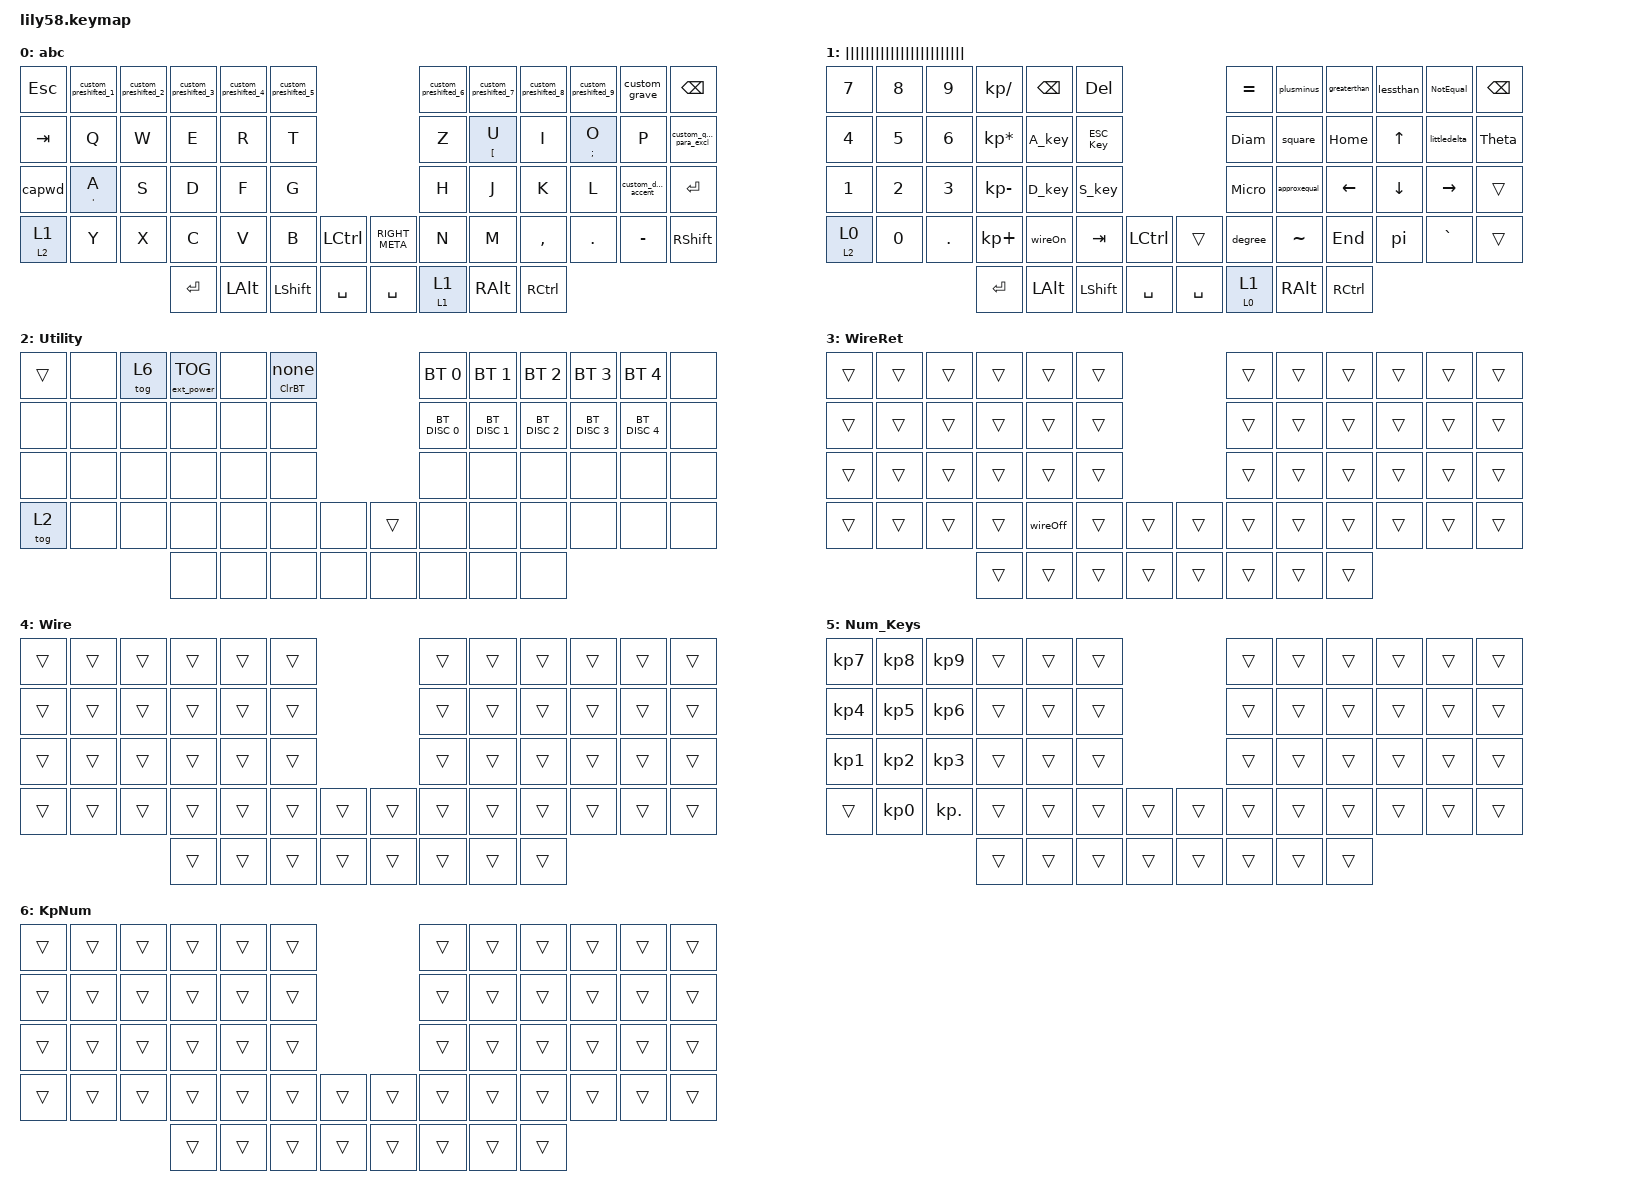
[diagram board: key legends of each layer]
/*
 * Copyright (c) 2020 The ZMK Contributors
 * Das ist ein Kommentar hihi
 * SPDX-License-Identifier: MIT
 */

#include <behaviors.dtsi>
#include <dt-bindings/zmk/bt.h>
#include <dt-bindings/zmk/ext_power.h>
#include <dt-bindings/zmk/keys.h>
#include "keymap_swiss_de.h"

/ {
    macros {
        NotEqual: NotEqual {
            compatible = "zmk,behavior-macro";
            #binding-cells = <0>;
            bindings =
                <&macro_press>,
                <&kp RALT>,
                <&macro_tap>,
                <&kp KP_NUMBER_8 &kp KP_N8 &kp KP_N0 &kp KP_N0>,
                <&macro_release>,
                <&kp RALT>;

            label = "NOTEQUAL";
            wait-ms = <30>;
            tap-ms = <30>;
        };

        pi: pi {
            compatible = "zmk,behavior-macro";
            #binding-cells = <0>;
            bindings =
                <&macro_press>,
                <&kp RALT>,
                <&macro_tap>,
                <&kp KP_NUMBER_2 &kp KP_NUMBER_2 &kp KP_NUMBER_7>,
                <&macro_release>,
                <&kp RALT>;

            label = "PI";
            wait-ms = <30>;
            tap-ms = <30>;
        };

        plusminus: plusminus {
            compatible = "zmk,behavior-macro";
            #binding-cells = <0>;
            bindings =
                <&macro_press>,
                <&kp RALT>,
                <&macro_tap>,
                <&kp KP_NUMBER_0 &kp KP_NUMBER_1 &kp KP_NUMBER_7 &kp KP_NUMBER_7>,
                <&macro_release>,
                <&kp RALT>;

            label = "PLUSMINUS";
            wait-ms = <30>;
            tap-ms = <30>;
        };

        greaterthan: greaterthan {
            compatible = "zmk,behavior-macro";
            #binding-cells = <0>;
            bindings =
                <&macro_press>,
                <&kp RALT>,
                <&macro_tap>,
                <&kp KP_NUMBER_2 &kp KP_NUMBER_4 &kp KP_NUMBER_2>,
                <&macro_release>,
                <&kp RALT>;

            label = "GREATERTHAN";
            wait-ms = <30>;
            tap-ms = <30>;
        };

        lessthan: lessthan {
            compatible = "zmk,behavior-macro";
            #binding-cells = <0>;
            bindings =
                <&macro_press>,
                <&kp RALT>,
                <&macro_tap>,
                <&kp KP_NUMBER_2 &kp KP_NUMBER_4 &kp KP_NUMBER_3>,
                <&macro_release>,
                <&kp RALT>;

            label = "LESSTHAN";
            wait-ms = <30>;
            tap-ms = <30>;
        };

        approxequal: approxequal {
            compatible = "zmk,behavior-macro";
            #binding-cells = <0>;
            bindings =
                <&macro_press>,
                <&kp RALT>,
                <&macro_tap>,
                <&kp KP_NUMBER_2 &kp KP_NUMBER_4 &kp KP_NUMBER_7>,
                <&macro_release>,
                <&kp RALT>;

            label = "APPROXEQUAL";
            wait-ms = <30>;
            tap-ms = <30>;
        };

        alpha: alpha {
            compatible = "zmk,behavior-macro";
            #binding-cells = <0>;
            bindings =
                <&macro_press>,
                <&kp RALT>,
                <&macro_tap>,
                <&kp KP_NUMBER_2 &kp KP_NUMBER_2 &kp KP_NUMBER_4>,
                <&macro_release>,
                <&kp RALT>;

            label = "ALPHA";
            wait-ms = <30>;
            tap-ms = <30>;
        };

        Micro: Micro {
            compatible = "zmk,behavior-macro";
            #binding-cells = <0>;
            bindings =
                <&macro_press>,
                <&kp RALT>,
                <&macro_tap>,
                <&kp KP_NUMBER_2 &kp KP_NUMBER_3 &kp KP_NUMBER_0>,
                <&macro_release>,
                <&kp RALT>;

            label = "MICRO";
            wait-ms = <30>;
            tap-ms = <30>;
        };

        degree: degree {
            compatible = "zmk,behavior-macro";
            #binding-cells = <0>;
            bindings =
                <&macro_press>,
                <&kp RALT>,
                <&macro_tap>,
                <&kp KP_NUMBER_0 &kp KP_NUMBER_1 &kp KP_NUMBER_7 &kp KP_NUMBER_6>,
                <&macro_release>,
                <&kp RALT>;

            label = "DEGREE";
            wait-ms = <30>;
            tap-ms = <30>;
        };

        square: square {
            compatible = "zmk,behavior-macro";
            #binding-cells = <0>;
            bindings =
                <&macro_press>,
                <&kp RALT>,
                <&macro_tap>,
                <&kp KP_NUMBER_0 &kp KP_NUMBER_1 &kp KP_NUMBER_7 &kp KP_NUMBER_8>,
                <&macro_release>,
                <&kp RALT>;

            label = "SQUARE";
            wait-ms = <30>;
            tap-ms = <30>;
        };

        Diam: Diam {
            compatible = "zmk,behavior-macro";
            #binding-cells = <0>;
            bindings =
                <&macro_press>,
                <&kp RALT>,
                <&macro_tap>,
                <&kp KP_NUMBER_0 &kp KP_NUMBER_2 &kp KP_NUMBER_1 &kp KP_NUMBER_6>,
                <&macro_release>,
                <&kp RALT>;

            label = "DIAM";
            wait-ms = <30>;
            tap-ms = <30>;
        };

        littledelta: littledelta {
            compatible = "zmk,behavior-macro";
            #binding-cells = <0>;
            bindings =
                <&macro_press>,
                <&kp RALT>,
                <&macro_tap>,
                <&kp KP_NUMBER_2 &kp KP_NUMBER_3 &kp KP_NUMBER_5>,
                <&macro_release>,
                <&kp RALT>;

            label = "LITTLEDELTA";
            wait-ms = <30>;
            tap-ms = <30>;
        };

        wireOn: wire {
            compatible = "zmk,behavior-macro";
            #binding-cells = <0>;
            bindings = <&macro_tap>, <&kp Q &tog 4>;

            label = "WIRE";
        };

        wireOff: wireOff {
            compatible = "zmk,behavior-macro";
            #binding-cells = <0>;
            bindings = <&macro_tap>, <&kp LA(Q) &tog 4>;

            label = "WIREOFF";
        };

        Theta: Theta {
            compatible = "zmk,behavior-macro";
            #binding-cells = <0>;
            bindings =
                <&macro_press>,
                <&kp RALT>,
                <&macro_tap>,
                <&kp KP_NUMBER_2 &kp KP_NUMBER_3 &kp KP_NUMBER_3>,
                <&macro_release>,
                <&kp RALT>;

            label = "THETA";
            wait-ms = <30>;
            tap-ms = <30>;
        };

        ClrBT: ClrBT {
            compatible = "zmk,behavior-macro";
            #binding-cells = <0>;
            bindings = <&macro_tap>, <&bt BT_CLR>;

            label = "CLRBT";
        };

        milli: milli {
            compatible = "zmk,behavior-macro";
            #binding-cells = <0>;
            bindings = <&macro_tap>, <&kp M &kp M>;

            label = "MILLI";
        };

        tripple_dot: tripple_dot {
            compatible = "zmk,behavior-macro";
            #binding-cells = <0>;
            bindings = <&kp PERIOD &kp PERIOD &kp PERIOD>;
            label = "TRIPPLE_DOT";
        };

        paragraph: paragraph {
            compatible = "zmk,behavior-macro";
            #binding-cells = <0>;
            bindings =
                <&macro_press>,
                <&kp RALT>,
                <&macro_tap>,
                <&kp KP_NUMBER_1 &kp KP_NUMBER_6 &kp KP_NUMBER_7>,
                <&macro_release>,
                <&kp RALT>;

            label = "PARAGRAPH";
            wait-ms = <30>;
            tap-ms = <30>;
        };
    };

    behaviors {
        capwd: capwd {
            compatible = "zmk,behavior-tap-dance";
            #binding-cells = <0>;
            label = "CAPWD";
            bindings = <&kp LSHFT>, <&kp CAPS>;

            tapping-term-ms = <400>;
        };

        UtilityL: UtilityL {
            compatible = "zmk,behavior-hold-tap";
            label = "UTILITYL";
            bindings = <&sl>, <&to>;

            #binding-cells = <2>;
            flavor = "hold-preferred";
            tapping-term-ms = <200>;
            quick-tap-ms = <90>;
            require-prior-idle-ms = <500>;
            hold-trigger-key-positions = <0 1 2 5 6 7 8 9 10 18 19 20 21 22 43 3 4 42 36>;
        };

        A_key: A_key {
            compatible = "zmk,behavior-mod-morph";
            label = "A_KEY";
            bindings = <&kp A>, <&kp C>;

            #binding-cells = <0>;
            mods = <(MOD_LCTL)>;
        };

        S_key: S_key {
            compatible = "zmk,behavior-mod-morph";
            label = "S_KEY";
            bindings = <&kp S>, <&kp Y>;

            #binding-cells = <0>;
            mods = <(MOD_LCTL)>;
            keep-mods = <(MOD_LCTL)>;
        };

        BtClr: BtClr {
            compatible = "zmk,behavior-hold-tap";
            label = "BTCLR";
            bindings = <&ClrBT>, <&none>;

            #binding-cells = <2>;
            tapping-term-ms = <5000>;
            require-prior-idle-ms = <200>;
        };

        RMod: RMod {
            compatible = "zmk,behavior-hold-tap";
            label = "RMOD";
            #binding-cells = <2>;
            bindings = <&mo>, <&tog>;

            flavor = "hold-preferred";
            tapping-term-ms = <200>;
        };

        Nav_Mod: Nav_Mod {
            compatible = "zmk,behavior-hold-tap";
            label = "NAV_MOD";
            #binding-cells = <2>;
            bindings = <&mo>, <&tog>;

            flavor = "hold-preferred";
            tapping-term-ms = <200>;
        };

        D_key: D_key {
            compatible = "zmk,behavior-mod-morph";
            label = "D_KEY";
            bindings = <&kp D>, <&kp Z>;

            #binding-cells = <0>;
            mods = <(MOD_LCTL)>;
            keep-mods = <(MOD_LCTL)>;
        };

        ESC_Key: ESC_Key {
            compatible = "zmk,behavior-mod-morph";
            label = "ESC_KEY";
            bindings = <&kp ESCAPE>, <&kp S>;

            #binding-cells = <0>;
            mods = <(MOD_LCTL)>;
            keep-mods = <(MOD_LCTL)>;
        };

        custom_preshifted_1: custom_preshifted_1 {
            compatible = "zmk,behavior-mod-morph";
            label = "CUSTOM_PRESHIFTED_1";
            bindings = <&kp LS(NUMBER_1)>, <&kp RA(NUMBER_1)>;

            #binding-cells = <0>;
            mods = <(MOD_LALT|MOD_RALT)>;
        };

        custom_preshifted_2: custom_preshifted_2 {
            compatible = "zmk,behavior-mod-morph";
            label = "CUSTOM_PRESHIFTED_2";
            bindings = <&kp LS(NUMBER_2)>, <&kp RA(NUMBER_2)>;

            #binding-cells = <0>;
            mods = <(MOD_LALT|MOD_RALT)>;
        };

        custom_preshifted_3: custom_preshifted_3 {
            compatible = "zmk,behavior-mod-morph";
            label = "CUSTOM_PRESHIFTED_3";
            bindings = <&kp LS(NUMBER_3)>, <&kp RA(NUMBER_3)>;

            #binding-cells = <0>;
            mods = <(MOD_LALT|MOD_RALT)>;
        };

        custom_preshifted_4: custom_preshifted_4 {
            compatible = "zmk,behavior-mod-morph";
            label = "CUSTOM_PRESHIFTED_4";
            bindings = <&kp LS(NUMBER_4)>, <&kp RA(NUMBER_4)>;

            #binding-cells = <0>;
            mods = <(MOD_LALT|MOD_RALT)>;
        };

        custom_preshifted_5: custom_preshifted_5 {
            compatible = "zmk,behavior-mod-morph";
            label = "CUSTOM_PRESHIFTED_5";
            bindings = <&kp LS(NUMBER_5)>, <&kp RA(NUMBER_5)>;

            #binding-cells = <0>;
            mods = <(MOD_LALT|MOD_RALT)>;
        };

        custom_preshifted_6: custom_preshifted_6 {
            compatible = "zmk,behavior-mod-morph";
            label = "CUSTOM_PRESHIFTED_6";
            bindings = <&kp LS(NUMBER_6)>, <&kp RA(NUMBER_6)>;

            #binding-cells = <0>;
            mods = <(MOD_LALT|MOD_RALT)>;
        };

        new_behavior: new_behavior {
            compatible = "zmk,behavior-mod-morph";
            label = "NEW_BEHAVIOR";
            bindings = <&kp LS(NUMBER_7)>, <&kp RA(NUMBER_7)>;

            #binding-cells = <0>;
            mods = <(MOD_LALT|MOD_RALT)>;
        };

        custom_preshifted_7: custom_preshifted_7 {
            compatible = "zmk,behavior-mod-morph";
            label = "CUSTOM_PRESHIFTED_7";
            bindings = <&kp LS(NUMBER_7)>, <&kp RA(NUMBER_7)>;

            #binding-cells = <0>;
            mods = <(MOD_LALT|MOD_RALT)>;
        };

        custom_preshifted_8: custom_preshifted_8 {
            compatible = "zmk,behavior-mod-morph";
            label = "CUSTOM_PRESHIFTED_8";
            bindings = <&kp LS(NUMBER_8)>, <&kp RA(NUMBER_8)>;

            #binding-cells = <0>;
            mods = <(MOD_LALT|MOD_RALT)>;
        };

        custom_preshifted_9: custom_preshifted_9 {
            compatible = "zmk,behavior-mod-morph";
            label = "CUSTOM_PRESHIFTED_9";
            bindings = <&kp LS(NUMBER_9)>, <&kp RA(NUMBER_9)>;

            #binding-cells = <0>;
            mods = <(MOD_LALT|MOD_RALT)>;
        };

        custom_dotts_accent: custom_dotts_accent {
            compatible = "zmk,behavior-mod-morph";
            label = "CUSTOM_DOTTS_ACCENT";
            bindings = <&kp RIGHT_BRACKET>, <&kp LS(EQUAL)>;

            #binding-cells = <0>;
            mods = <(MOD_RALT|MOD_LALT)>;
        };

        custom_question: custom_question {
            compatible = "zmk,behavior-mod-morph";
            label = "CUSTOM_QUESTION";
            bindings = <&kp LS(MINUS)>, <&paragraph>;

            #binding-cells = <0>;
            mods = <(MOD_RALT|MOD_LALT)>;
        };

        custom_question_para_excl: custom_question_para_excl {
            compatible = "zmk,behavior-mod-morph";
            label = "CUSTOM_QUESTION_PARA_EXCL";
            bindings = <&custom_question>, <&kp LS(RIGHT_BRACKET)>;

            #binding-cells = <0>;
            mods = <(MOD_LSFT|MOD_RSFT)>;
        };

        umlaut: umlaut {
            compatible = "zmk,behavior-hold-tap";
            label = "UMLAUT";
            bindings = <&kp>, <&kp>;

            #binding-cells = <2>;
            tapping-term-ms = <500>;
            hold-trigger-on-release;
        };

        custom_grave: custom_grave {
            compatible = "zmk,behavior-mod-morph";
            label = "CUSTOM_GRAVE";
            bindings = <&kp MINUS>, <&kp EQUAL>;

            #binding-cells = <0>;
            mods = <(MOD_LSFT|MOD_RSFT)>;
        };

        custom_dots_grave_egu: custom_dots_grave_egu {
            compatible = "zmk,behavior-mod-morph";
            label = "CUSTOM_DOTS_GRAVE_EGU";
            bindings = <&custom_dotts_accent>, <&kp RA(MINUS)>;

            #binding-cells = <0>;
            mods = <(MOD_LSFT|MOD_RSFT)>;
        };
    };

    combos {
        compatible = "zmk,combos";

        del {
            bindings = <&kp DEL>;
            key-positions = <11 10>;
        };

        LBrak {
            bindings = <&kp RA(LEFT_BRACKET)>;
            key-positions = <18 19>;
            require-prior-idle-ms = <200>;
        };

        rbrak {
            bindings = <&kp RA(RIGHT_BRACKET)>;
            key-positions = <20 19>;
            require-prior-idle-ms = <200>;
        };

        lbrace {
            bindings = <&kp RA(SQT)>;
            key-positions = <30 31>;
            require-prior-idle-ms = <200>;
        };

        rbrace {
            bindings = <&kp RA(NON_US_BACKSLASH)>;
            key-positions = <31 32>;
            require-prior-idle-ms = <200>;
        };

        cut {
            bindings = <&kp LC(X)>;
            key-positions = <37 38>;
            require-prior-idle-ms = <250>;
        };

        copy {
            bindings = <&kp LC(C)>;
            key-positions = <38 39>;
            require-prior-idle-ms = <250>;
        };

        paste {
            bindings = <&kp LC(V)>;
            key-positions = <39 40>;
            require-prior-idle-ms = <250>;
        };

        tab {
            bindings = <&kp TAB>;
            key-positions = <0 1>;
            timeout-ms = <20>;
        };

        dash {
            bindings = <&kp MINUS>;
            key-positions = <9 10>;
        };

        under {
            bindings = <&kp LS(MINUS)>;
            key-positions = <21 22>;
            require-prior-idle-ms = <125>;
        };

        semi {
            bindings = <&kp LS(SEMI)>;
            key-positions = <22 23>;
        };

        col {
            bindings = <&kp LS(PERIOD)>;
            key-positions = <34 35>;
        };

        equals {
            bindings = <&kp LS(N0)>;
            key-positions = <2 3>;
        };

        inch {
            bindings = <&kp LS(NUMBER_2)>;
            key-positions = <14 15>;
        };

        millimeter {
            bindings = <&milli>;
            key-positions = <26 27>;
        };

        snip {
            bindings = <&kp LG(LS(S))>;
            key-positions = <24 25 26>;
        };

        lessthan {
            bindings = <&lessthan>;
            key-positions = <44 45>;
        };

        morethan {
            bindings = <&greaterthan>;
            key-positions = <45 46>;
        };
    };

    keymap {
        compatible = "zmk,keymap";

        default_layer {
            // ------------------------------------------------------------------------------------------------------------
            // |  ESC  |  1  |  2  |  3   |  4   |  5   |                   |  6   |  7    |  8    |  9   |   0   |   `   |
            // |  TAB  |  Q  |  W  |  E   |  R   |  T   |                   |  Y   |  U    |  I    |  O   |   P   |   -   |
            // |  CTRL |  A  |  S  |  D   |  F   |  G   |                   |  H   |  J    |  K    |  L   |   ;   |   '   |
            // | SHIFT |  Z  |  X  |  C   |  V   |  B   |   "["  |  |  "]"  |  N   |  M    |  ,    |  .   |   /   | SHIFT |
            //                     | ALT  | GUI  | LOWER|  SPACE |  | ENTER | RAISE| BSPC  | GUI   |

            display-name = "abc";
            bindings = <
&kp ESC        &custom_preshifted_1  &custom_preshifted_2  &custom_preshifted_3  &custom_preshifted_4  &custom_preshifted_5                               &custom_preshifted_6  &custom_preshifted_7    &custom_preshifted_8  &custom_preshifted_9  &custom_grave         &kp BACKSPACE
&kp TAB        &kp Q                 &kp W                 &kp E                 &kp R                 &kp T                                              &kp Z                 &umlaut LEFT_BRACKET U  &kp I                 &umlaut SEMICOLON O   &kp P                 &custom_question_para_excl
&capwd         &umlaut SQT A         &kp S                 &kp D                 &kp F                 &kp G                                              &kp H                 &kp J                   &kp K                 &kp L                 &custom_dotts_accent  &kp ENTER
&UtilityL 2 1  &kp Y                 &kp X                 &kp C                 &kp V                 &kp B                 &kp LCTRL    &kp RIGHT_META  &kp N                 &kp M                   &kp COMMA             &kp PERIOD            &kp MINUS             &kp RSHFT
                                                           &kp ENTER             &kp LALT              &kp LSHFT             &kp SPACE    &kp SPACE       &RMod 1 1             &kp RALT                &kp RCTRL
            >;
        };

        SldWksNumb {
            display-name = "||||||||||||||||||||||||";
            bindings = <
&kp N7         &kp N8  &kp N9   &kp KP_DIVIDE    &kp BSPC  &kp DEL                            &kp EQUAL     &plusminus    &greaterthan  &lessthan  &NotEqual     &kp BSPC
&kp N4         &kp N5  &kp N6   &kp KP_MULTIPLY  &A_key    &ESC_Key                           &Diam         &square       &kp HOME      &kp UP     &littledelta  &Theta
&kp N1         &kp N2  &kp N3   &kp KP_SUBTRACT  &D_key    &S_key                             &Micro        &approxequal  &kp LEFT      &kp DOWN   &kp RIGHT     &trans
&UtilityL 2 0  &kp N0  &kp DOT  &kp KP_PLUS      &wireOn   &kp TAB    &kp LCTRL    &trans     &degree       &kp TILDE     &kp END       &pi        &kp GRAVE     &trans
                                &kp RET          &kp LALT  &kp LSHFT  &kp SPACE    &kp SPACE  &Nav_Mod 0 1  &kp RALT      &kp RCTRL
            >;
        };

        Utility {
            display-name = "Utility";
            bindings = <
&trans  &none  &tog 6  &ext_power EP_TOG  &none  &BtClr 0 0                   &bt BT_SEL 0   &bt BT_SEL 1   &bt BT_SEL 2   &bt BT_SEL 3   &bt BT_SEL 4   &none
&none   &none  &none   &none              &none  &none                        &bt BT_DISC 0  &bt BT_DISC 1  &bt BT_DISC 2  &bt BT_DISC 3  &bt BT_DISC 4  &none
&none   &none  &none   &none              &none  &none                        &none          &none          &none          &none          &none          &none
&tog 2  &none  &none   &none              &none  &none       &none    &trans  &none          &none          &none          &none          &none          &none
                       &none              &none  &none       &none    &none   &none          &none          &none
            >;
        };

        WireRet {
            bindings = <
&trans  &trans  &trans  &trans  &trans    &trans                    &trans  &trans  &trans  &trans  &trans  &trans
&trans  &trans  &trans  &trans  &trans    &trans                    &trans  &trans  &trans  &trans  &trans  &trans
&trans  &trans  &trans  &trans  &trans    &trans                    &trans  &trans  &trans  &trans  &trans  &trans
&trans  &trans  &trans  &trans  &wireOff  &trans  &trans    &trans  &trans  &trans  &trans  &trans  &trans  &trans
                        &trans  &trans    &trans  &trans    &trans  &trans  &trans  &trans
            >;
        };

        Transparent_Wire_Activator {
            display-name = "Wire";
            bindings = <
&trans  &trans  &trans  &trans  &trans  &trans                    &trans  &trans  &trans  &trans  &trans  &trans
&trans  &trans  &trans  &trans  &trans  &trans                    &trans  &trans  &trans  &trans  &trans  &trans
&trans  &trans  &trans  &trans  &trans  &trans                    &trans  &trans  &trans  &trans  &trans  &trans
&trans  &trans  &trans  &trans  &trans  &trans  &trans    &trans  &trans  &trans  &trans  &trans  &trans  &trans
                        &trans  &trans  &trans  &trans    &trans  &trans  &trans  &trans
            >;
        };

        Num_Keys {
            bindings = <
&kp KP_N7        &kp KP_NUMBER_8  &kp KP_N9        &trans  &trans  &trans                    &trans  &trans  &trans  &trans  &trans  &trans
&kp KP_NUMBER_4  &kp KP_NUMBER_5  &kp KP_NUMBER_6  &trans  &trans  &trans                    &trans  &trans  &trans  &trans  &trans  &trans
&kp KP_NUMBER_1  &kp KP_NUMBER_2  &kp KP_NUMBER_3  &trans  &trans  &trans                    &trans  &trans  &trans  &trans  &trans  &trans
&trans           &kp KP_NUMBER_0  &kp KP_DOT       &trans  &trans  &trans  &trans    &trans  &trans  &trans  &trans  &trans  &trans  &trans
                                                   &trans  &trans  &trans  &trans    &trans  &trans  &trans  &trans
            >;
        };

        Transparent_Num_Activator {
            display-name = "KpNum";
            bindings = <
&trans  &trans  &trans  &trans  &trans  &trans                    &trans  &trans  &trans  &trans  &trans  &trans
&trans  &trans  &trans  &trans  &trans  &trans                    &trans  &trans  &trans  &trans  &trans  &trans
&trans  &trans  &trans  &trans  &trans  &trans                    &trans  &trans  &trans  &trans  &trans  &trans
&trans  &trans  &trans  &trans  &trans  &trans  &trans    &trans  &trans  &trans  &trans  &trans  &trans  &trans
                        &trans  &trans  &trans  &trans    &trans  &trans  &trans  &trans
            >;
        };
    };

    conditional_layers {
        compatible = "zmk,conditional-layers";

        Num_Keys_On {
            if-layers = <1 6>;
            then-layer = <5>;
        };

        Wire_Frame_On {
            if-layers = <1 4>;
            then-layer = <3>;
        };
    };
};
